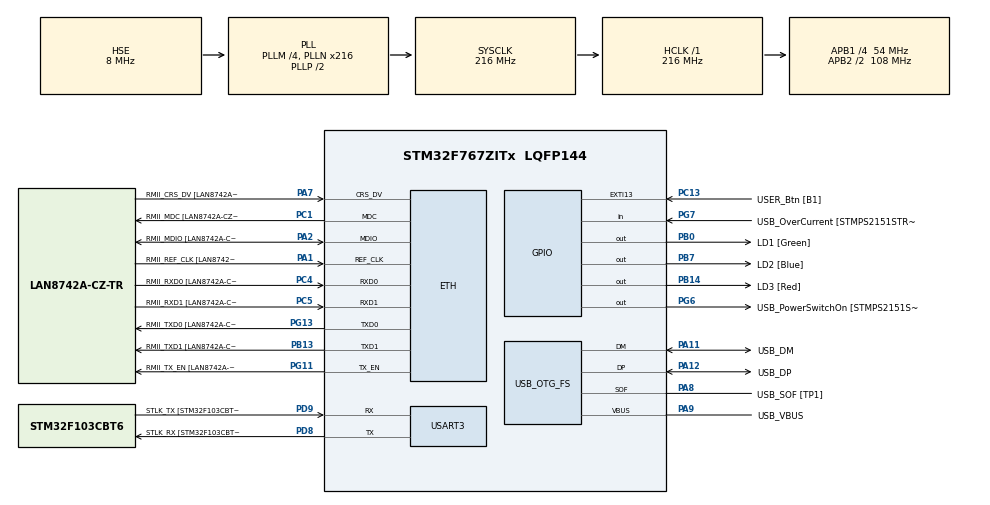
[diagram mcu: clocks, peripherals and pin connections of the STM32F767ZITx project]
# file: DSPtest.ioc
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Mcu.Family=STM32F7
RCC.CortexFreq_Value=216000000
PG6.Signal=GPIO_Output
PB14.GPIO_Label=LD3 [Red]
PG6.GPIO_Label=USB_PowerSwitchOn [STMPS2151STR_EN]
PA14.GPIO_Label=TCK
RCC.SYSCLKSourceVirtual=RCC_SYSCLKSOURCE_PLLCLK
PA11.Mode=Device_Only
PB0.GPIO_Label=LD1 [Green]
PC14/OSC32_IN.Mode=LSE-External-Oscillator
PC5.Mode=RMII
PC13.GPIO_Label=USER_Btn [B1]
PB13.GPIO_Label=RMII_TXD1 [LAN8742A-CZ-TR_TXD1]
PB13.Signal=ETH_TXD1
PG13.Signal=ETH_TXD0
PD9.Mode=Asynchronous
PG11.Signal=ETH_TX_EN
RCC.SYSCLKSource=RCC_SYSCLKSOURCE_PLLCLK
ProjectManager.StackSize=0x400
USART3.VirtualMode-Asynchronous=VM_ASYNC
PA12.Signal=USB_OTG_FS_DP
ETH.PHY_Value=0
PH0/OSC_IN.Mode=HSE-External-Clock-Source
RCC.HCLKFreq_Value=216000000
RCC.APB2TimFreq_Value=216000000
PH1/OSC_OUT.Signal=RCC_OSC_OUT
PD8.Signal=USART3_TX
RCC.AHBFreq_Value=216000000
RCC.HSE_VALUE=8000000
RCC.PLLMUL=RCC_PLL_MUL9
PC4.GPIO_Label=RMII_RXD0 [LAN8742A-CZ-TR_RXD0]
PA14.Mode=Serial_Wire
PA10.GPIO_Label=USB_ID
PB7.Signal=GPIO_Output
PA8.Signal=USB_OTG_FS_SOF
PG13.Mode=RMII
ETH.PHY_Name=LAN8742A_PHY_ADDRESS
PH1/OSC_OUT.Mode=HSE-External-Clock-Source
PB7.GPIO_Label=LD2 [Blue]
Mcu.Package=LQFP144
PC14/OSC32_IN.Signal=RCC_OSC32_IN
PA2.GPIO_Label=RMII_MDIO [LAN8742A-CZ-TR_MDIO]
PA10.Signal=USB_OTG_FS_ID
USB_OTG_FS.VirtualMode=Device_Only
RCC.APB2CLKDivider=RCC_HCLK_DIV2
RCC.APB1TimFreq_Value=108000000
PG11.GPIO_Label=RMII_TX_EN [LAN8742A-CZ-TR_TXEN]
PC5.Signal=ETH_RXD1
PB13.Mode=RMII
PC4.Mode=RMII
PB3.GPIO_Label=SWO
PA7.Mode=RMII
PG7.Signal=GPIO_Input
PD9.GPIO_Label=STLK_TX [STM32F103CBT6_PA2]
PC13.Signal=GPXTI13
PA9.GPIO_Label=USB_VBUS
PC4.Signal=ETH_RXD0
PA11.GPIO_Label=USB_DM
PD9.Signal=USART3_RX
RCC.APB1CLKDivider=RCC_HCLK_DIV4
PG13.GPIO_Label=RMII_TXD0 [LAN8742A-CZ-TR_TXD0]
ETH.PhyAddress=0
PA12.GPIO_Label=USB_DP
PD8.GPIO_Label=STLK_RX [STM32F103CBT6_PA3]
PA13.Signal=SYS_JTMS-SWDIO
PA9.Mode=Activate_VBUS
PA8.GPIO_Label=USB_SOF [TP1]
ProjectManager.TargetToolchain=STM32CubeIDE
PA9.Signal=USB_OTG_FS_VBUS
RCC.USBFreq_Value=48000000
PD8.Mode=Asynchronous
VP_STMicroelectronics.X-CUBE-ALGOBUILD_VS_DSPOoLibraryJjLibrary_1.2.1_1.2.1.Mode=DSPOoLibraryJjLibrary
PA1.Signal=ETH_REF_CLK
PB14.Signal=GPIO_Output
board=NUCLEO-F767ZI
RCC.VCOOutputFreq_Value=432000000
PH0/OSC_IN.Signal=RCC_OSC_IN
RCC.APB2Freq_Value=108000000
PA1.Mode=RMII
RCC.PRESCALERUSB=RCC_USBCLKSOURCE_PLL_DIV1_5
PG7.GPIO_Label=USB_OverCurrent [STMPS2151STR_FAULT]
PA1.GPIO_Label=RMII_REF_CLK [LAN8742A-CZ-TR_REFCLK0]
PC1.GPIO_Label=RMII_MDC [LAN8742A-CZ-TR_MDC]
PA13.Mode=Serial_Wire
Mcu.Name=STM32F767ZITx
PA2.Signal=ETH_MDIO
PA13.GPIO_Label=TMS
RCC.48MHZClocksFreq_Value=24000000
PB3.Signal=SYS_JTDO-SWO
RCC.SYSCLKFreq_VALUE=216000000
ETH.MediaInterface=ETH_MEDIA_INTERFACE_RMII
PA7.GPIO_Label=RMII_CRS_DV [LAN8742A-CZ-TR_CRS_DV]
PA12.Mode=Device_Only
PC5.GPIO_Label=RMII_RXD1 [LAN8742A-CZ-TR_RXD1]
PC15/OSC32_OUT.Mode=LSE-External-Oscillator
PG11.Mode=RMII
PA11.Signal=USB_OTG_FS_DM
PA14.Signal=SYS_JTCK-SWCLK
ProjectManager.HeapSize=0x200
RCC.HSI_VALUE=16000000
PH0/OSC_IN.GPIO_Label=MCO [STM32F103CBT6_PA8]
RCC.PLLQ=9
NVIC.PriorityGroup=NVIC_PRIORITYGROUP_4
RCC.PLLM=4
RCC.PLLN=216
PA2.Mode=RMII
STMicroelectronics.X-CUBE-ALGOBUILD.1.2.1.LibraryCcDSPOoLibraryJjDSPOoLibrary=true
PC15/OSC32_OUT.Signal=RCC_OSC32_OUT
PA8.Mode=Activate_SOF_FS
RCC.APB1Freq_Value=54000000
PB0.Signal=GPIO_Output
PC1.Signal=ETH_MDC
PC1.Mode=RMII
PA7.Signal=ETH_CRS_DV

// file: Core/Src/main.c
/* USER CODE BEGIN Header */
/*
 * *
 * REALIZAR O ENVIO DO VALOR PICO A PICO MEDIDO JUNTO COM A
 * CONFIGURACAO DOS ELETRODOS
  */
/* USER CODE END Header */
#include "main.h"

/* USER CODE BEGIN PM */
#ifdef __GNUC__
/* With GCC, small printf (option LD Linker->Libraries->Small printf
   set to 'Yes') calls __io_putchar() */
#define PUTCHAR_PROTOTYPE int __io_putchar(int ch)
#else
#define PUTCHAR_PROTOTYPE int fputc(int ch, FILE *f)
#endif /* __GNUC__ */

//uint16_t BLOCK_SIZE = 32;
#define BLOCK_SIZEfir         256
#define BLOCK_SIZEiir		  64
#define NUM_TAPS              32

#define IIR_ORDER 2
#define IIR_NUMSTAGES (IIR_ORDER / 2)

#if defined(ARM_MATH_MVEF) && !defined(ARM_MATH_AUTOVECTORIZE)
static int16_t firStateI16[2 * BLOCK_SIZEfir + NUM_TAPS - 1];
#else
static int16_t firStateI16[BLOCK_SIZEfir + NUM_TAPS - 1];
#endif

#if defined(ARM_MATH_MVEF) && !defined(ARM_MATH_AUTOVECTORIZE)
static int16_t iirStateI32[4*IIR_NUMSTAGES];
#else
static int16_t iirStateI32[4*IIR_NUMSTAGES];
#endif
/* USER CODE END PM */

ETH_HandleTypeDef heth;

UART_HandleTypeDef huart3;

PCD_HandleTypeDef hpcd_USB_OTG_FS;

/* USER CODE BEGIN PV */
extern muxsPin Mux1;
extern muxsPin Mux3;
extern currentMuxes;
extern bitsOfByte dt;
extern float32_t testInput_f32_10khz[TEST_LENGTH_SAMPLES];
extern float32_t testInput_f32_unknown[TEST_LENGTH_SAMPLES];
static float32_t testOutput_f32_10khz[TEST_LENGTH_SAMPLES];
static float32_t testOutput[TEST_LENGTH_SAMPLES/2];

char valor[10] ={0};
/* USER CODE END PV */

void SystemClock_Config(void);
static void MX_GPIO_Init(void);
static void MX_ETH_Init(void);
static void MX_USART3_UART_Init(void);
static void MX_USB_OTG_FS_PCD_Init(void);
/* USER CODE BEGIN PFP */
extern void multiply(float* values, float factor);
extern float32_t maxFFTArm(float32_t * maxValue);
extern float32_t peakToPeakArm(float32_t* vetor);

extern int16_t testInput_i15_10khz[TEST_LENGTH_SAMPLES];
static int16_t vetorOutputFIR[TEST_LENGTH_SAMPLES];
static int16_t vetorOutputIIR[TEST_LENGTH_SAMPLES];

const int BL = 32;
const int16_t firCoeffsI16[32] = {
	     1551,   1777,   1133,      0,   -754,   -482,    555,   1152,      0,
	    -3135,  -6799,  -8469,  -6163,      0,   7466,  12534,  12534,   7466,
	        0,  -6163,  -8469,  -6799,  -3135,      0,   1152,    555,   -482,
	     -754,      0,   1133,   1777,   1551
};

//b0, b1, b2; a0, a1, a2)
const int16_t iirCoeff[6*IIR_NUMSTAGES] = {280, 0, -280, 2048, 0, 1488};

static int16_t iirCoeffsI16[6*IIR_NUMSTAGES] = {
		//557, 0,0,0,0,0,
		2048,          0,     -2048,  	2048,  		-3560,        1718,
		//557,0,0,0,0,0,
		2048,        0,       -2048, 	2048,     	-2102,        1332,
		//502,0,0,0,0,0,
		2048,        0,       -2048,  	2048,       -2630,        1044
		//2048,0,0,0,0,0
};

/*static int32_t iirCoeffs32[5*(IIR_ORDER-4)] = {
	   3566,    	0,        -3566,	   -24707,   -14205,
	   2948,	    0,	      -2948,	   -28401,	  13729,
	   2618,	    0,	      -2618,	   -24914,	  11518,
	   2334,	    0,	      -2334,	   -24284,	  11434,
	   2569,	    0,	      -2569,	   -26612,	  12391,
	   1338,	    0,	      -1338,	   -23838,	  12200,
	   1972,	    0,	      -1972,	   -30844,	  15984,
	   1682,	    0,	      -1682,	   -25660,	  15606,
	   3574,	    0,	      -3574,	   -24100,	  13057,
	   3300,        0,        -3300,       -27519,    13031,
	   2552,        0,        -2552,       -25720,    11862,
	   3755,        0,        -3755,       -23909,    11656,
	   1996,        0,        -1996,       -30058,    15209,
	   25606,       0,        -25606,      -29246,    14458
};

// {b10, 0, b11, b12, a11, a12, b20, 0, b21, b22, a21, a22, ...}
static int16_t iirCoeffs16[6*IIR_ORDER] = {
	   3566,    	0,0,        -3566,	   -24707,   -14205,
	   2948,	    0,0,	      -2948,	   -28401,	  13729,
	   2618,	    0,0,	      -2618,	   -24914,	  11518,
	   2334,	    0,0,	      -2334,	   -24284,	  11434,
	   2569,	    0,0,	      -2569,	   -26612,	  12391,
	   1338,	    0,0,	      -1338,	   -23838,	  12200,
	   1972,	    0,0,	      -1972,	   -30844,	  15984,
	   1682,	    0,0,	      -1682,	   -25660,	  15606,
	   3574,	    0,0,	      -3574,	   -24100,	  13057,
	   3300,        0,0,        -3300,       -27519,    13031,
	   2552,        0,0,        -2552,       -25720,    11862,
	   3755,        0,0,        -3755,       -23909,    11656,
	   1996,        0,0,        -1996,       -30058,    15209,
	   25606,       0,0,        -25606,      -29246,    14458
};*/

/* USER CODE END PFP */

/* USER CODE BEGIN 0 */
PUTCHAR_PROTOTYPE
{
  /* Place your implementation of fputc here */
  /* e.g. write a character to the USART3 and Loop until the end of transmission */
  HAL_UART_Transmit(&huart3, (uint8_t *)&ch, 1, 0xFFFF);

  return ch;
}
/* USER CODE END 0 */

int main(void)
{

  /* MCU Configuration--------------------------------------------------------*/

  /* Reset of all peripherals, Initializes the Flash interface and the Systick. */
  HAL_Init();

  /* Configure the system clock */
  SystemClock_Config();

  /* Initialize all configured peripherals */
  MX_GPIO_Init();
  //MX_ETH_Init();
  MX_USART3_UART_Init();
  MX_USB_OTG_FS_PCD_Init();
  /* USER CODE BEGIN 2 */

  dt.raw = 0;
  uint32_t numBlocksfir = TEST_LENGTH_SAMPLES/BLOCK_SIZEfir;
  uint32_t numBlocksiir = TEST_LENGTH_SAMPLES/BLOCK_SIZEiir;
  int16_t  *inputI16, *outputI16FIR;
  int16_t  *inputI32, *outputI32IIR;
  inputI16 = &testInput_i15_10khz[0];
  inputI32 = &testInput_i15_10khz[0];
  outputI16FIR = &vetorOutputFIR[0];
  outputI32IIR = &vetorOutputIIR[0];
  //float32_t maxValueReturn;

  arm_fir_instance_q15 S;
  arm_fir_init_q15(&S, NUM_TAPS, (int16_t *)&firCoeffsI16[0], &firStateI16[0], BLOCK_SIZEfir);

  arm_biquad_casd_df1_inst_q15 R;
  arm_biquad_cascade_df1_init_q15(&R, IIR_NUMSTAGES, (int16_t *)&iirCoeff[0], &iirStateI32[0], 0);

  /* USER CODE END 2 */

  /* Infinite loop */
  while (1)
  {
	  //maxFFTArm(&maxValueReturn);
	  //for(int i = 0; i < TEST_LENGTH_SAMPLES; i++){
	  //	  	sprintf(valor, "%d \n", (int16_t) testInput_i15_10khz[i]);
	  //	  	printf(valor);
	  //}
	  for(int i=0; i < numBlocksfir; i++)
	  {
		  arm_fir_fast_q15(&S, inputI16 + (i * BLOCK_SIZEfir), outputI16FIR + (i * BLOCK_SIZEfir), BLOCK_SIZEfir);
	  }
	  for(int i=0; i < numBlocksiir; i++)
	  {
		  arm_biquad_cascade_df1_q15(&R, inputI32 + (i * BLOCK_SIZEiir), outputI32IIR + (i * BLOCK_SIZEiir), BLOCK_SIZEiir);
	  }

	  for(int i = 0; i < TEST_LENGTH_SAMPLES; i++){
	  	//sprintf(valor, "%ld %ld \n", (int16_t) vetorOutputIIR[i], (int16_t) testInput_i15_10khz[i]);
	  	sprintf(valor, "%d %d \n", vetorOutputIIR[i], testInput_i15_10khz[i]);
	  	printf(valor);
	  }

	  //maxValueReturn = peakToPeakArm(testInput_f32_unknown);
	  //controlMuxs(dt, &currentMuxes);
	  //dt.raw += 1;
	  //if(dt.raw > 7) dt.raw = 0;

	  // separando por espaço pode plotar dois valores ao mesmo tempo
	  //sprintf(valor, "%d %.2f \n", (int)dt.raw, (float32_t) maxValueReturn);
	  //printf(valor);
	  //multiply(&testInput_f32_unknown, 3.0);
	  //HAL_Delay(1000);
  }
}

void SystemClock_Config(void)
{
  RCC_OscInitTypeDef RCC_OscInitStruct = {0};
  RCC_ClkInitTypeDef RCC_ClkInitStruct = {0};
  RCC_PeriphCLKInitTypeDef PeriphClkInitStruct = {0};

  /** Configure LSE Drive Capability
  */
  HAL_PWR_EnableBkUpAccess();
  /** Configure the main internal regulator output voltage
  */
  __HAL_RCC_PWR_CLK_ENABLE();
  __HAL_PWR_VOLTAGESCALING_CONFIG(PWR_REGULATOR_VOLTAGE_SCALE1);
  /** Initializes the RCC Oscillators according to the specified parameters
  * in the RCC_OscInitTypeDef structure.
  */
  RCC_OscInitStruct.OscillatorType = RCC_OSCILLATORTYPE_HSE;
  RCC_OscInitStruct.HSEState = RCC_HSE_BYPASS;
  RCC_OscInitStruct.PLL.PLLState = RCC_PLL_ON;
  RCC_OscInitStruct.PLL.PLLSource = RCC_PLLSOURCE_HSE;
  RCC_OscInitStruct.PLL.PLLM = 4;
  RCC_OscInitStruct.PLL.PLLN = 216;
  RCC_OscInitStruct.PLL.PLLP = RCC_PLLP_DIV2;
  RCC_OscInitStruct.PLL.PLLQ = 9;
  if (HAL_RCC_OscConfig(&RCC_OscInitStruct) != HAL_OK)
  {
    Error_Handler();
  }
  /** Activate the Over-Drive mode
  */
  if (HAL_PWREx_EnableOverDrive() != HAL_OK)
  {
    Error_Handler();
  }
  /** Initializes the CPU, AHB and APB buses clocks
  */
  RCC_ClkInitStruct.ClockType = RCC_CLOCKTYPE_HCLK|RCC_CLOCKTYPE_SYSCLK
                              |RCC_CLOCKTYPE_PCLK1|RCC_CLOCKTYPE_PCLK2;
  RCC_ClkInitStruct.SYSCLKSource = RCC_SYSCLKSOURCE_PLLCLK;
  RCC_ClkInitStruct.AHBCLKDivider = RCC_SYSCLK_DIV1;
  RCC_ClkInitStruct.APB1CLKDivider = RCC_HCLK_DIV4;
  RCC_ClkInitStruct.APB2CLKDivider = RCC_HCLK_DIV2;

  if (HAL_RCC_ClockConfig(&RCC_ClkInitStruct, FLASH_LATENCY_7) != HAL_OK)
  {
    Error_Handler();
  }
  PeriphClkInitStruct.PeriphClockSelection = RCC_PERIPHCLK_USART3|RCC_PERIPHCLK_CLK48;
  PeriphClkInitStruct.Usart3ClockSelection = RCC_USART3CLKSOURCE_PCLK1;
  PeriphClkInitStruct.Clk48ClockSelection = RCC_CLK48SOURCE_PLL;
  if (HAL_RCCEx_PeriphCLKConfig(&PeriphClkInitStruct) != HAL_OK)
  {
    Error_Handler();
  }
}

static void MX_ETH_Init(void)
{

  heth.Instance = ETH;
  heth.Init.AutoNegotiation = ETH_AUTONEGOTIATION_ENABLE;
  heth.Init.Speed = ETH_SPEED_100M;
  heth.Init.DuplexMode = ETH_MODE_FULLDUPLEX;
  heth.Init.PhyAddress = LAN8742A_PHY_ADDRESS;
  heth.Init.MACAddr[0] =   0x00;
  heth.Init.MACAddr[1] =   0x80;
  heth.Init.MACAddr[2] =   0xE1;
  heth.Init.MACAddr[3] =   0x00;
  heth.Init.MACAddr[4] =   0x00;
  heth.Init.MACAddr[5] =   0x00;
  heth.Init.RxMode = ETH_RXPOLLING_MODE;
  heth.Init.ChecksumMode = ETH_CHECKSUM_BY_HARDWARE;
  heth.Init.MediaInterface = ETH_MEDIA_INTERFACE_RMII;

  if (HAL_ETH_Init(&heth) != HAL_OK)
  {
    Error_Handler();
  }

}

static void MX_USART3_UART_Init(void)
{

  huart3.Instance = USART3;
  huart3.Init.BaudRate = 115200;
  huart3.Init.WordLength = UART_WORDLENGTH_8B;
  huart3.Init.StopBits = UART_STOPBITS_1;
  huart3.Init.Parity = UART_PARITY_NONE;
  huart3.Init.Mode = UART_MODE_TX_RX;
  huart3.Init.HwFlowCtl = UART_HWCONTROL_NONE;
  huart3.Init.OverSampling = UART_OVERSAMPLING_16;
  huart3.Init.OneBitSampling = UART_ONE_BIT_SAMPLE_DISABLE;
  huart3.AdvancedInit.AdvFeatureInit = UART_ADVFEATURE_NO_INIT;
  if (HAL_UART_Init(&huart3) != HAL_OK)
  {
    Error_Handler();
  }

}

static void MX_USB_OTG_FS_PCD_Init(void)
{

  hpcd_USB_OTG_FS.Instance = USB_OTG_FS;
  hpcd_USB_OTG_FS.Init.dev_endpoints = 6;
  hpcd_USB_OTG_FS.Init.speed = PCD_SPEED_FULL;
  hpcd_USB_OTG_FS.Init.dma_enable = DISABLE;
  hpcd_USB_OTG_FS.Init.phy_itface = PCD_PHY_EMBEDDED;
  hpcd_USB_OTG_FS.Init.Sof_enable = ENABLE;
  hpcd_USB_OTG_FS.Init.low_power_enable = DISABLE;
  hpcd_USB_OTG_FS.Init.lpm_enable = DISABLE;
  hpcd_USB_OTG_FS.Init.vbus_sensing_enable = ENABLE;
  hpcd_USB_OTG_FS.Init.use_dedicated_ep1 = DISABLE;
  if (HAL_PCD_Init(&hpcd_USB_OTG_FS) != HAL_OK)
  {
    Error_Handler();
  }

}

static void MX_GPIO_Init(void)
{
  GPIO_InitTypeDef GPIO_InitStruct = {0};

  /* GPIO Ports Clock Enable */
  __HAL_RCC_GPIOC_CLK_ENABLE();
  __HAL_RCC_GPIOH_CLK_ENABLE();
  __HAL_RCC_GPIOA_CLK_ENABLE();
  __HAL_RCC_GPIOB_CLK_ENABLE();
  __HAL_RCC_GPIOD_CLK_ENABLE();
  __HAL_RCC_GPIOG_CLK_ENABLE();

  /*Configure GPIO pin Output Level */
  HAL_GPIO_WritePin(GPIOB, LD1_Pin|LD3_Pin|LD2_Pin, GPIO_PIN_RESET);

  /*Configure GPIO pin Output Level */
  HAL_GPIO_WritePin(USB_PowerSwitchOn_GPIO_Port, USB_PowerSwitchOn_Pin, GPIO_PIN_RESET);

  /*Configure GPIO pin : USER_Btn_Pin */
  GPIO_InitStruct.Pin = USER_Btn_Pin;
  GPIO_InitStruct.Mode = GPIO_MODE_IT_RISING;
  GPIO_InitStruct.Pull = GPIO_NOPULL;
  HAL_GPIO_Init(USER_Btn_GPIO_Port, &GPIO_InitStruct);

  /*Configure GPIO pins : LD1_Pin LD3_Pin LD2_Pin */
  GPIO_InitStruct.Pin = LD1_Pin|LD3_Pin|LD2_Pin;
  GPIO_InitStruct.Mode = GPIO_MODE_OUTPUT_PP;
  GPIO_InitStruct.Pull = GPIO_NOPULL;
  GPIO_InitStruct.Speed = GPIO_SPEED_FREQ_LOW;
  HAL_GPIO_Init(GPIOB, &GPIO_InitStruct);

  /*Configure GPIO pin : USB_PowerSwitchOn_Pin */
  GPIO_InitStruct.Pin = USB_PowerSwitchOn_Pin;
  GPIO_InitStruct.Mode = GPIO_MODE_OUTPUT_PP;
  GPIO_InitStruct.Pull = GPIO_NOPULL;
  GPIO_InitStruct.Speed = GPIO_SPEED_FREQ_LOW;
  HAL_GPIO_Init(USB_PowerSwitchOn_GPIO_Port, &GPIO_InitStruct);

  /*Configure GPIO pin : USB_OverCurrent_Pin */
  GPIO_InitStruct.Pin = USB_OverCurrent_Pin;
  GPIO_InitStruct.Mode = GPIO_MODE_INPUT;
  GPIO_InitStruct.Pull = GPIO_NOPULL;
  HAL_GPIO_Init(USB_OverCurrent_GPIO_Port, &GPIO_InitStruct);

}

void Error_Handler(void)
{
  __disable_irq();
  while (1)
  {
  }
}

/************************ (C) COPYRIGHT STMicroelectronics *****END OF FILE****/
